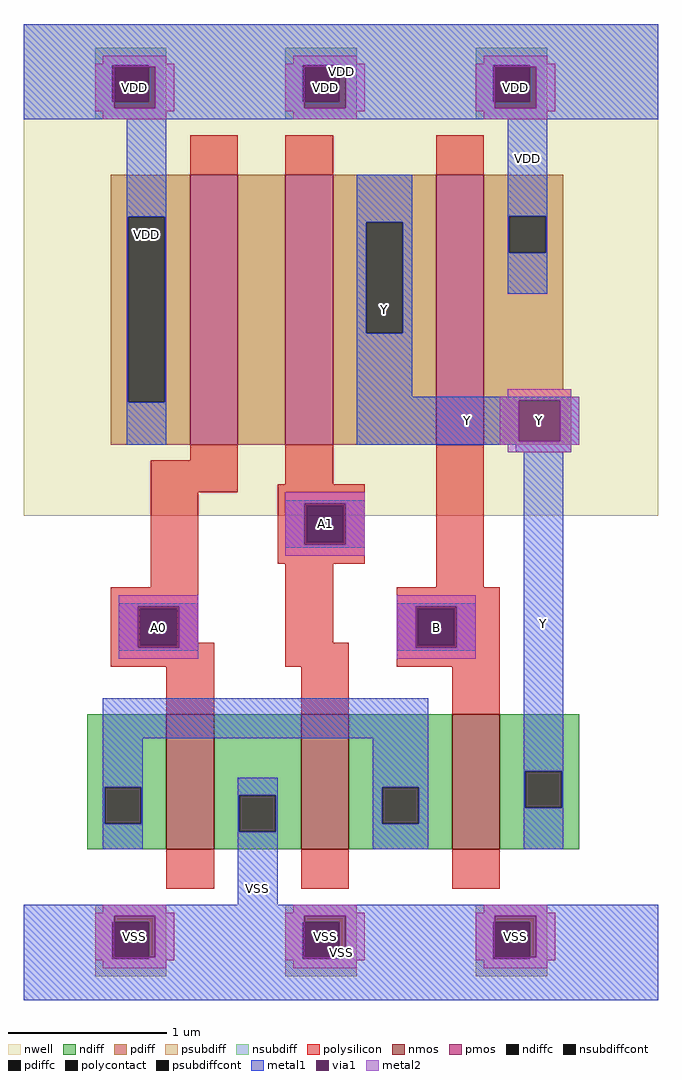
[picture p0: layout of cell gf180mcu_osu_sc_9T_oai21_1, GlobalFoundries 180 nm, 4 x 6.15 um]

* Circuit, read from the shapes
.subckt gf180mcu_osu_sc_9T_oai21_1 Y A0 A1 B VDD VSS
XM1 VSS A0 n1 VSS nfet_03v3 w=0.85u l=0.3u
XM2 n1 A1 VSS VSS nfet_03v3 w=0.85u l=0.3u
XM3 Y B n1 VSS nfet_03v3 w=0.85u l=0.3u
XM4 n2 A0 VDD VDD pfet_03v3 w=1.7u l=0.3u
XM5 Y A1 n2 VDD pfet_03v3 w=1.7u l=0.3u
XM6 VDD B Y VDD pfet_03v3 w=1.7u l=0.3u
.ends

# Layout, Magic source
magic
tech gf180mcuC
magscale 1 10
<< nwell >>
rect 0 610 800 1230
<< nmos >>
rect 180 190 240 360
rect 350 190 410 360
rect 540 190 600 360
<< pmos >>
rect 210 700 270 1040
rect 330 700 390 1040
rect 520 700 580 1040
<< ndiff >>
rect 80 268 180 360
rect 80 222 102 268
rect 148 222 180 268
rect 80 190 180 222
rect 240 258 350 360
rect 240 212 272 258
rect 318 212 350 258
rect 240 190 350 212
rect 410 268 540 360
rect 410 222 452 268
rect 498 222 540 268
rect 410 190 540 222
rect 600 288 700 360
rect 600 242 632 288
rect 678 242 700 288
rect 600 190 700 242
<< pdiff >>
rect 110 987 210 1040
rect 110 753 132 987
rect 178 753 210 987
rect 110 700 210 753
rect 270 700 330 1040
rect 390 980 520 1040
rect 390 840 432 980
rect 478 840 520 980
rect 390 700 520 840
rect 580 988 680 1040
rect 580 942 612 988
rect 658 942 680 988
rect 580 770 680 942
rect 580 700 690 770
<< ndiffc >>
rect 102 222 148 268
rect 272 212 318 258
rect 452 222 498 268
rect 632 242 678 288
<< pdiffc >>
rect 132 753 178 987
rect 432 840 478 980
rect 612 942 658 988
<< psubdiff >>
rect 90 98 180 120
rect 90 52 112 98
rect 158 52 180 98
rect 90 30 180 52
rect 330 98 420 120
rect 330 52 352 98
rect 398 52 420 98
rect 330 30 420 52
rect 570 98 660 120
rect 570 52 592 98
rect 638 52 660 98
rect 570 30 660 52
<< nsubdiff >>
rect 90 1178 180 1200
rect 90 1132 112 1178
rect 158 1132 180 1178
rect 90 1110 180 1132
rect 330 1178 420 1200
rect 330 1132 352 1178
rect 398 1132 420 1178
rect 330 1110 420 1132
rect 570 1178 660 1200
rect 570 1132 592 1178
rect 638 1132 660 1178
rect 570 1110 660 1132
<< psubdiffcont >>
rect 112 52 158 98
rect 352 52 398 98
rect 592 52 638 98
<< nsubdiffcont >>
rect 112 1132 158 1178
rect 352 1132 398 1178
rect 592 1132 638 1178
<< polysilicon >>
rect 210 1040 270 1090
rect 330 1040 390 1090
rect 520 1040 580 1090
rect 210 680 270 700
rect 160 640 270 680
rect 330 650 390 700
rect 160 520 220 640
rect 320 623 430 650
rect 320 577 357 623
rect 403 577 430 623
rect 320 550 430 577
rect 110 493 220 520
rect 110 447 147 493
rect 193 450 220 493
rect 330 450 390 550
rect 520 520 580 700
rect 470 493 600 520
rect 193 447 240 450
rect 110 420 240 447
rect 330 420 410 450
rect 470 447 497 493
rect 543 447 600 493
rect 470 420 600 447
rect 180 360 240 420
rect 350 360 410 420
rect 540 360 600 420
rect 180 140 240 190
rect 350 140 410 190
rect 540 140 600 190
<< polycontact >>
rect 357 577 403 623
rect 147 447 193 493
rect 497 447 543 493
<< metal1 >>
rect 0 1178 800 1230
rect 0 1132 112 1178
rect 158 1176 352 1178
rect 398 1176 592 1178
rect 638 1176 800 1178
rect 166 1132 352 1176
rect 406 1132 592 1176
rect 0 1124 114 1132
rect 166 1124 354 1132
rect 406 1124 594 1132
rect 646 1124 800 1176
rect 0 1110 800 1124
rect 130 987 180 1110
rect 130 753 132 987
rect 178 753 180 987
rect 130 700 180 753
rect 420 980 490 1040
rect 420 840 432 980
rect 478 840 490 980
rect 610 988 660 1110
rect 610 942 612 988
rect 658 942 660 988
rect 610 890 660 942
rect 420 760 490 840
rect 420 756 700 760
rect 420 704 624 756
rect 676 704 700 756
rect 420 700 700 704
rect 620 690 690 700
rect 330 626 430 630
rect 330 574 354 626
rect 406 574 430 626
rect 330 570 430 574
rect 120 496 220 500
rect 120 444 144 496
rect 196 444 220 496
rect 120 440 220 444
rect 470 496 570 500
rect 470 444 494 496
rect 546 444 570 496
rect 470 440 570 444
rect 100 330 510 380
rect 100 268 150 330
rect 100 222 102 268
rect 148 222 150 268
rect 100 190 150 222
rect 270 258 320 280
rect 270 212 272 258
rect 318 212 320 258
rect 270 120 320 212
rect 440 268 510 330
rect 440 222 452 268
rect 498 222 510 268
rect 440 190 510 222
rect 630 288 680 690
rect 630 242 632 288
rect 678 242 680 288
rect 630 190 680 242
rect 0 106 800 120
rect 0 98 114 106
rect 166 98 354 106
rect 406 98 594 106
rect 0 52 112 98
rect 166 54 352 98
rect 406 54 592 98
rect 646 54 800 106
rect 158 52 352 54
rect 398 52 592 54
rect 638 52 800 54
rect 0 0 800 52
<< via1 >>
rect 114 1132 158 1176
rect 158 1132 166 1176
rect 354 1132 398 1176
rect 398 1132 406 1176
rect 594 1132 638 1176
rect 638 1132 646 1176
rect 114 1124 166 1132
rect 354 1124 406 1132
rect 594 1124 646 1132
rect 624 704 676 756
rect 354 623 406 626
rect 354 577 357 623
rect 357 577 403 623
rect 403 577 406 623
rect 354 574 406 577
rect 144 493 196 496
rect 144 447 147 493
rect 147 447 193 493
rect 193 447 196 493
rect 144 444 196 447
rect 494 493 546 496
rect 494 447 497 493
rect 497 447 543 493
rect 543 447 546 493
rect 494 444 546 447
rect 114 98 166 106
rect 354 98 406 106
rect 594 98 646 106
rect 114 54 158 98
rect 158 54 166 98
rect 354 54 398 98
rect 398 54 406 98
rect 594 54 638 98
rect 638 54 646 98
<< metal2 >>
rect 100 1180 180 1190
rect 340 1180 420 1190
rect 580 1180 660 1190
rect 90 1176 190 1180
rect 90 1124 114 1176
rect 166 1124 190 1176
rect 90 1120 190 1124
rect 330 1176 430 1180
rect 330 1124 354 1176
rect 406 1124 430 1176
rect 330 1120 430 1124
rect 570 1176 670 1180
rect 570 1124 594 1176
rect 646 1124 670 1176
rect 570 1120 670 1124
rect 100 1110 180 1120
rect 340 1110 420 1120
rect 580 1110 660 1120
rect 610 760 690 770
rect 600 756 700 760
rect 600 704 624 756
rect 676 704 700 756
rect 600 700 700 704
rect 610 690 690 700
rect 330 626 430 640
rect 330 574 354 626
rect 406 574 430 626
rect 330 560 430 574
rect 120 496 220 510
rect 120 444 144 496
rect 196 444 220 496
rect 120 430 220 444
rect 470 496 570 510
rect 470 444 494 496
rect 546 444 570 496
rect 470 430 570 444
rect 100 110 180 120
rect 340 110 420 120
rect 580 110 660 120
rect 90 106 190 110
rect 90 54 114 106
rect 166 54 190 106
rect 90 50 190 54
rect 330 106 430 110
rect 330 54 354 106
rect 406 54 430 106
rect 330 50 430 54
rect 570 106 670 110
rect 570 54 594 106
rect 646 54 670 106
rect 570 50 670 54
rect 100 40 180 50
rect 340 40 420 50
rect 580 40 660 50
<< labels >>
rlabel metal2 s 100 1110 180 1190 4 VDD
port 10 nsew power bidirectional abutment
rlabel metal2 s 100 40 180 120 4 VSS
port 11 nsew ground bidirectional
rlabel metal2 s 610 690 690 770 4 Y
port 1 nsew signal output
rlabel metal2 s 120 430 220 510 4 A0
port 2 nsew signal input
rlabel metal2 s 330 560 430 640 4 A1
port 3 nsew signal input
rlabel metal2 s 470 430 570 510 4 B
port 4 nsew signal input
rlabel metal1 s 120 440 220 500 1 A0
port 2 nsew signal input
rlabel metal1 s 330 570 430 630 1 A1
port 3 nsew signal input
rlabel metal1 s 470 440 570 500 1 B
port 4 nsew signal input
rlabel metal2 s 90 1120 190 1180 1 VDD
port 10 nsew power bidirectional abutment
rlabel metal2 s 340 1110 420 1190 1 VDD
port 10 nsew power bidirectional abutment
rlabel metal2 s 330 1120 430 1180 1 VDD
port 10 nsew power bidirectional abutment
rlabel metal2 s 580 1110 660 1190 1 VDD
port 10 nsew power bidirectional abutment
rlabel metal2 s 570 1120 670 1180 1 VDD
port 10 nsew power bidirectional abutment
rlabel metal1 s 130 700 180 1230 1 VDD
port 10 nsew power bidirectional abutment
rlabel metal1 s 610 890 660 1230 1 VDD
port 10 nsew power bidirectional abutment
rlabel metal1 s 0 1110 800 1230 1 VDD
port 10 nsew power bidirectional abutment
rlabel metal2 s 90 50 190 110 1 VSS
port 11 nsew ground bidirectional
rlabel metal2 s 340 40 420 120 1 VSS
port 11 nsew ground bidirectional
rlabel metal2 s 330 50 430 110 1 VSS
port 11 nsew ground bidirectional
rlabel metal2 s 580 40 660 120 1 VSS
port 11 nsew ground bidirectional
rlabel metal2 s 570 50 670 110 1 VSS
port 11 nsew ground bidirectional
rlabel metal1 s 270 0 320 280 1 VSS
port 11 nsew ground bidirectional
rlabel metal1 s 0 0 800 120 1 VSS
port 11 nsew ground bidirectional
rlabel metal2 s 600 700 700 760 1 Y
port 1 nsew signal output
rlabel metal1 s 420 700 490 1040 1 Y
port 1 nsew signal output
rlabel metal1 s 630 190 680 760 1 Y
port 1 nsew signal output
rlabel metal1 s 620 690 690 760 1 Y
port 1 nsew signal output
rlabel metal1 s 420 700 700 760 1 Y
port 1 nsew signal output
<< properties >>
string FIXED_BBOX 0 0 800 1230
string GDS_END 432138
string GDS_FILE $PDKPATH/libs.ref/gf180mcu_osu_sc_9T/gds/gf180mcu_osu_sc_9T.gds
string GDS_START 424990
string LEFclass CORE
string LEFsite GF018hv5v_mcu_sc7
string LEFsymmetry X Y
<< end >>
